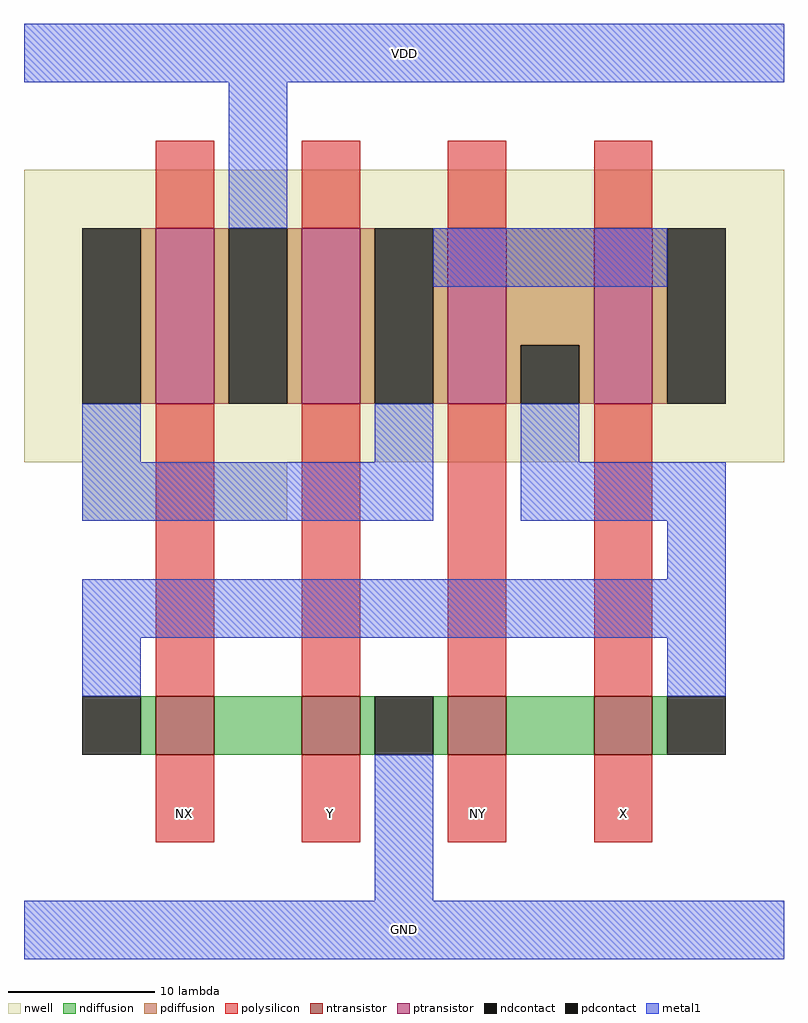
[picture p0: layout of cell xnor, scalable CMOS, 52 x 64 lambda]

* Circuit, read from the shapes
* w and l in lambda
.subckt xnor VDD GND NX NY Y X
M1 n1 NX n2 VSUBS nfet w=4 l=4
M2 GND Y n1 VSUBS nfet w=4 l=4
M3 n3 NY GND VSUBS nfet w=4 l=4
M4 n2 X n3 VSUBS nfet w=4 l=4
M5 VDD NX n4 n5 pfet w=12 l=4
M6 n4 Y VDD n5 pfet w=12 l=4
M7 n2 NY n4 n5 pfet w=12 l=4
M8 n4 X n2 n5 pfet w=12 l=4
.ends

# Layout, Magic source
magic
tech scmos
<< nwell >>
rect 0 20 52 40
rect 4 16 18 20
<< polysilicon >>
rect 9 36 13 42
rect 19 36 23 42
rect 29 36 33 42
rect 39 36 43 42
rect 9 4 13 24
rect 19 4 23 24
rect 29 4 33 24
rect 39 4 43 24
rect 9 -6 13 0
rect 19 -6 23 0
rect 29 -6 33 0
rect 39 -6 43 0
<< ndiffusion >>
rect 8 0 9 4
rect 13 0 19 4
rect 23 0 24 4
rect 28 0 29 4
rect 33 0 39 4
rect 43 0 44 4
<< pdiffusion >>
rect 8 24 9 36
rect 13 24 14 36
rect 18 24 19 36
rect 23 24 24 36
rect 28 24 29 36
rect 33 28 39 36
rect 33 24 34 28
rect 38 24 39 28
rect 43 24 44 36
<< metal1 >>
rect 0 46 52 50
rect 14 36 18 46
rect 28 32 44 36
rect 4 20 8 24
rect 24 20 28 24
rect 4 16 28 20
rect 34 20 38 24
rect 34 16 48 20
rect 44 12 48 16
rect 4 8 48 12
rect 4 4 8 8
rect 44 4 48 8
rect 24 -10 28 0
rect 0 -14 52 -10
<< ntransistor >>
rect 9 0 13 4
rect 19 0 23 4
rect 29 0 33 4
rect 39 0 43 4
<< ptransistor >>
rect 9 24 13 36
rect 19 24 23 36
rect 29 24 33 36
rect 39 24 43 36
<< ndcontact >>
rect 4 0 8 4
rect 24 0 28 4
rect 44 0 48 4
<< pdcontact >>
rect 4 24 8 36
rect 14 24 18 36
rect 24 24 28 36
rect 34 24 38 28
rect 44 24 48 36
<< labels >>
flabel metal1 0 46 52 50 0 FreeMono 40 0 0 0 VDD
port 2 nsew
flabel metal1 0 -14 52 -10 0 FreeMono 40 0 0 0 GND
port 4 nsew
flabel polysilicon 9 -6 13 -2 0 FreeMono 40 0 0 0 NX
port 5 nsew
flabel polysilicon 29 -6 33 -2 0 FreeMono 40 0 0 0 NY
port 6 nsew
flabel polysilicon 19 -6 23 -2 0 FreeMono 40 0 0 0 Y
port 7 nsew
flabel polysilicon 39 -6 43 -2 0 FreeMono 40 0 0 0 X
port 8 nsew
<< end >>
